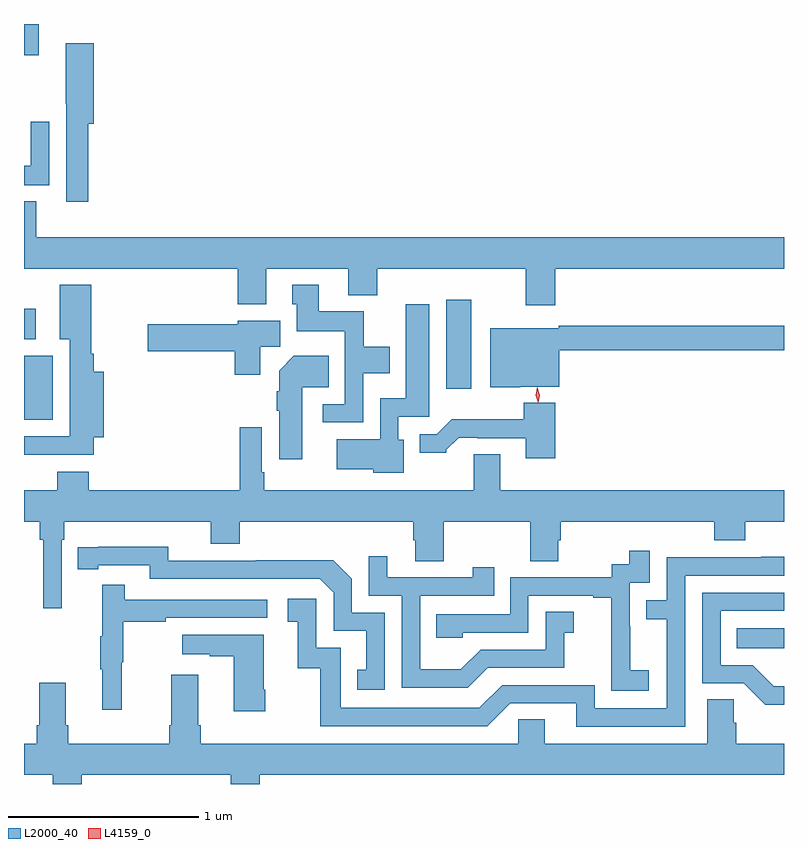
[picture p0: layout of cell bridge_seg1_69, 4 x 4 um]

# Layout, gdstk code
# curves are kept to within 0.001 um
import gdstk
lib = gdstk.Library(unit=1e-6, precision=1e-09)
def R(c, l, rs):  # rectangles x0, y0, x1, y1
    for r in rs: c.add(gdstk.rectangle(r[:2], r[2:], *l))
def P(c, l, *ps):  # polygons
    for p in ps: c.add(gdstk.Polygon(p, *l))
L2000_40 = (2000, 40)
L4159_0 = (4159, 0)

bridge_seg1_69 = lib.new_cell('bridge_seg1_69')
R(bridge_seg1_69, L2000_40, [(510.982,535.082,511.231,535.186), (507.231,536.285,507.382,536.62), (509.453,536.448,509.584,536.917), (507.231,536.709,507.292,536.869), (507.231,538.203,507.308,538.367)])
P(bridge_seg1_69, L2000_40, [(507.569,537.842),(507.599,537.842),(507.599,538.267),(507.452,538.267),(507.452,537.946),(507.453,537.946),(507.453,537.432),(507.569,537.432)],
  [(507.363,537.853),(507.267,537.853),(507.267,537.622),(507.231,537.622),(507.231,537.518),(507.363,537.518)],
  [(510.026,537.08),(511.231,537.08),(511.231,537.244),(507.295,537.244),(507.295,537.433),(507.231,537.433),(507.231,537.08),(508.355,537.08),(508.355,536.891),(508.507,536.891),(508.507,537.08),(508.937,537.08),(508.937,536.939),(509.09,536.939),(509.09,537.08),(509.873,537.08),(509.873,536.886),(510.026,536.886)],
  [(507.599,536.192),(507.652,536.192),(507.652,536.536),(507.599,536.536),(507.599,536.632),(507.586,536.632),(507.586,536.995),(507.419,536.995),(507.419,536.708),(507.473,536.708),(507.473,536.196),(507.231,536.196),(507.231,536.099),(507.599,536.099)],
  [(509.016,536.528),(509.155,536.528),(509.155,536.668),(509.019,536.668),(509.019,536.854),(508.783,536.854),(508.783,536.995),(508.643,536.995),(508.643,536.892),(508.667,536.892),(508.667,536.75),(508.92,536.75),(508.92,536.367),(508.803,536.367),(508.803,536.271),(509.016,536.271)],
  [(509.23,536.178),(509.202,536.178),(509.202,536.301),(509.365,536.301),(509.365,536.893),(509.24,536.893),(509.24,536.398),(509.106,536.398),(509.106,536.182),(508.878,536.182),(508.878,536.024),(509.07,536.024),(509.07,536.006),(509.23,536.006)],
  [(508.474,536.668),(508.579,536.668),(508.579,536.806),(508.356,536.806),(508.356,536.787),(507.882,536.787),(507.882,536.645),(508.34,536.645),(508.34,536.52),(508.474,536.52)],
  [(509.844,536.459),(510.049,536.459),(510.049,536.65),(511.231,536.65),(511.231,536.779),(510.045,536.779),(510.045,536.767),(509.684,536.767),(509.684,536.456),(509.844,536.456)],
  [(508.696,536.456),(508.835,536.456),(508.835,536.62),(508.652,536.62),(508.574,536.542),(508.574,536.435),(508.562,536.435),(508.562,536.332),(508.574,536.332),(508.574,536.076),(508.696,536.076)],
  [(510.026,536.374),(509.861,536.374),(509.861,536.287),(509.482,536.287),(509.403,536.208),(509.315,536.208),(509.315,536.111),(509.454,536.111),(509.454,536.126),(509.518,536.19),(509.617,536.19),(509.617,536.187),(509.873,536.187),(509.873,536.082),(510.026,536.082)],
  [(507.429,535.652),(507.443,535.652),(507.443,535.748),(508.214,535.748),(508.214,535.631),(508.367,535.631),(508.367,535.748),(509.279,535.748),(509.279,535.65),(509.291,535.65),(509.291,535.54),(509.439,535.54),(509.439,535.748),(509.896,535.748),(509.896,535.54),(510.043,535.54),(510.043,535.65),(510.056,535.65),(510.056,535.748),(510.863,535.748),(510.863,535.649),(511.028,535.649),(511.028,535.748),(511.231,535.748),(511.231,535.912),(509.737,535.912),(509.737,536.102),(509.597,536.102),(509.597,535.912),(508.495,535.912),(508.495,536.008),(508.482,536.008),(508.482,536.245),(508.366,536.245),(508.366,535.912),(507.572,535.912),(507.572,536.011),(507.407,536.011),(507.407,535.912),(507.231,535.912),(507.231,535.748),(507.313,535.748),(507.313,535.652),(507.332,535.652),(507.332,535.293),(507.429,535.293)],
  [(509.13,535.269),(508.956,535.269),(508.956,535.446),(508.858,535.544),(508.45,535.544),(508.45,535.542),(507.99,535.542),(507.99,535.615),(507.514,535.614),(507.514,535.498),(507.622,535.498),(507.622,535.518),(507.894,535.518),(507.894,535.446),(508.788,535.446),(508.86,535.374),(508.86,535.173),(509.033,535.173),(509.033,534.969),(508.984,534.969),(508.984,534.864),(509.13,534.864)],
  [(510.52,534.967),(510.422,534.967),(510.422,535.196),(510.42,535.196),(510.42,535.425),(510.525,535.425),(510.525,535.594),(510.417,535.594),(510.417,535.524),(510.324,535.524),(510.324,535.455),(509.79,535.455),(509.79,535.26),(509.401,535.26),(509.401,535.137),(509.541,535.137),(509.541,535.164),(509.886,535.164),(509.886,535.359),(510.227,535.359),(510.227,535.347),(510.323,535.347),(510.323,535.063),(510.322,535.063),(510.322,534.857),(510.52,534.857)],
  [(509.671,534.978),(510.075,534.978),(510.075,535.163),(510.124,535.163),(510.124,535.273),(509.976,535.273),(509.976,535.074),(509.634,535.074),(509.53,534.97),(509.316,534.97),(509.316,535.359),(509.705,535.359),(509.705,535.507),(509.594,535.507),(509.594,535.455),(509.143,535.455),(509.143,535.567),(509.046,535.567),(509.046,535.359),(509.22,535.359),(509.22,534.873),(509.566,534.873)],
  [(510.711,535.464),(511.231,535.464),(511.231,535.562),(511.111,535.562),(511.111,535.56),(510.615,535.56),(510.615,535.335),(510.505,535.335),(510.505,535.234),(510.615,535.234),(510.615,534.765),(510.234,534.765),(510.234,534.888),(509.748,534.888),(509.628,534.768),(508.899,534.768),(508.899,535.083),(508.77,535.083),(508.77,535.342),(508.62,535.342),(508.62,535.221),(508.673,535.221),(508.673,534.975),(508.791,534.975),(508.791,534.672),(509.67,534.672),(509.79,534.792),(510.137,534.792),(510.137,534.669),(510.711,534.669)],
  [(507.746,535.008),(507.754,535.008),(507.754,535.222),(507.977,535.222),(507.977,535.242),(508.51,535.242),(508.51,535.338),(507.761,535.338),(507.761,535.417),(507.644,535.417),(507.644,535.145),(507.633,535.145),(507.633,534.971),(507.644,534.971),(507.644,534.759),(507.746,534.759)],
  [(511.231,534.882),(511.177,534.882),(511.066,534.993),(510.897,534.993),(510.897,535.278),(511.231,535.278),(511.231,535.374),(510.801,535.374),(510.801,534.897),(511.02,534.897),(511.133,534.785),(511.231,534.785)],
  [(508.5,534.862),(508.492,534.862),(508.492,535.153),(508.065,535.153),(508.065,535.049),(508.208,535.049),(508.208,535.039),(508.334,535.039),(508.334,534.75),(508.5,534.75)],
  [(507.536,534.416),(508.319,534.416),(508.319,534.367),(508.472,534.367),(508.472,534.416),(511.231,534.416),(511.231,534.58),(510.98,534.58),(510.98,534.689),(510.966,534.689),(510.966,534.812),(510.827,534.812),(510.827,534.58),(509.971,534.58),(509.971,534.707),(509.832,534.707),(509.832,534.58),(508.16,534.58),(508.16,534.676),(508.147,534.676),(508.147,534.943),(508.007,534.943),(508.007,534.676),(507.995,534.676),(507.995,534.58),(507.464,534.58),(507.464,534.676),(507.451,534.676),(507.451,534.901),(507.311,534.901),(507.311,534.676),(507.299,534.676),(507.299,534.58),(507.231,534.58),(507.231,534.416),(507.383,534.416),(507.383,534.367),(507.536,534.367)])
P(bridge_seg1_69, L4159_0, [(509.937,536.373),(509.937,536.373),(509.925,536.413),(509.932,536.454),(509.932,536.455),(509.932,536.454),(509.945,536.414),(509.937,536.373)])

lib.write_gds('bridge_seg1_69.gds')
